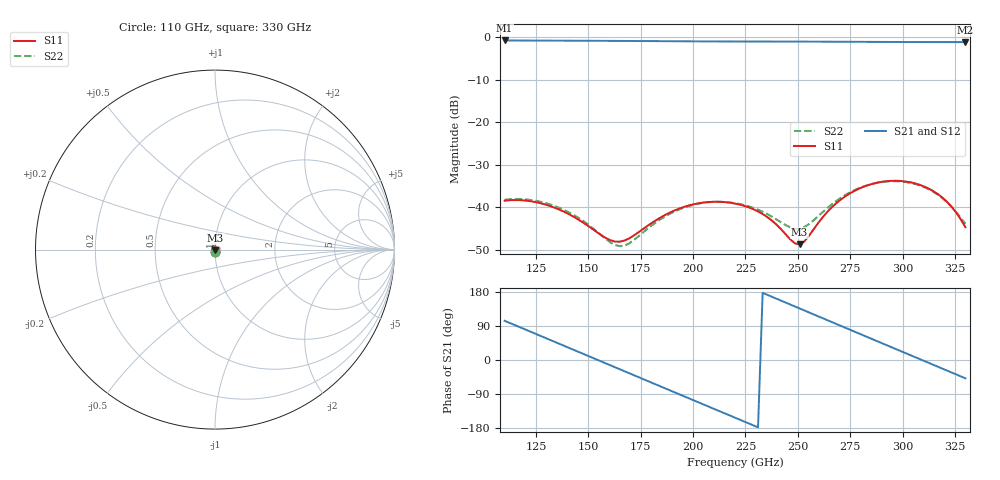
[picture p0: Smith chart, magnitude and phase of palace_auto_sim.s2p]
#  GHZ S DB R 50
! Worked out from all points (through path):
!   101 points, 110 GHz to 330 GHz, reference 50 ohm
!   highest |S21| = -0.73 dB at 110 GHz (marker M1); lowest = -1.1 dB at 330 GHz (marker M2)
!   group delay of S21, straight-line fit = 6.46 ps
!   lowest |S11| = -48.8 dB at 250.8 GHz (marker M3), VSWR 1.01, Z = 50.3 - j0.246 ohm
!   |S11| at or under -10 dB: start of sweep to end of sweep
!   |S22| runs from -49.2 to -33.9 dB; largest |S21 - S12| = 1e-13
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110  -38.48 -81.7  -0.73 103.5  -0.73 103.5  -38.28 -81.9
118.8  -38.39 -109.8  -0.74 83.0  -0.74 83.0  -38.12 -109.7
127.6  -39.13 -140.2  -0.76 62.6  -0.76 62.6  -38.78 -139.5
138.6  -41.13 177.0  -0.78 37.0  -0.78 37.0  -40.71 179.1
147.4  -43.61 136.3  -0.80 16.6  -0.80 16.6  -43.22 140.5
156.2  -46.62 84.2  -0.82 -3.9  -0.82 -3.9  -46.64 91.2
165  -48.14 14.5  -0.84 -24.4  -0.84 -24.4  -49.19 19.6
176  -45.19 -65.9  -0.87 -50.0  -0.87 -50.0  -46.00 -68.3
184.8  -42.34 -112.0  -0.89 -70.5  -0.89 -70.5  -42.74 -115.3
193.6  -40.29 -149.7  -0.92 -91.0  -0.92 -91.0  -40.49 -153.1
202.4  -39.10 176.9  -0.94 -111.4  -0.94 -111.4  -39.19 173.3
220  -39.15 117.8  -0.97 -152.2  -0.97 -152.2  -39.05 112.2
235.4  -42.33 65.1  -0.98 172.0  -0.98 172.0  -41.63 55.0
250.8  -48.76 -42.2  -1.00 136.1  -1.00 136.1  -45.08 -42.0
257.4  -45.32 -103.8  -1.01 120.7  -1.01 120.7  -43.14 -91.5
266.2  -40.05 -148.3  -1.02 100.2  -1.02 100.2  -39.34 -137.8
275  -36.72 -179.2  -1.04 79.7  -1.04 79.7  -36.50 -171.6
283.8  -34.77 153.7  -1.06 59.2  -1.06 59.2  -34.74 159.3
294.8  -33.80 121.6  -1.08 33.6  -1.08 33.6  -33.89 125.4
312.4  -35.61 69.8  -1.11 -7.3  -1.11 -7.3  -35.77 70.6
321.2  -38.73 40.0  -1.12 -27.8  -1.12 -27.8  -38.82 38.1
330  -44.71 -7.5  -1.12 -48.3  -1.12 -48.3  -43.90 -14.5
